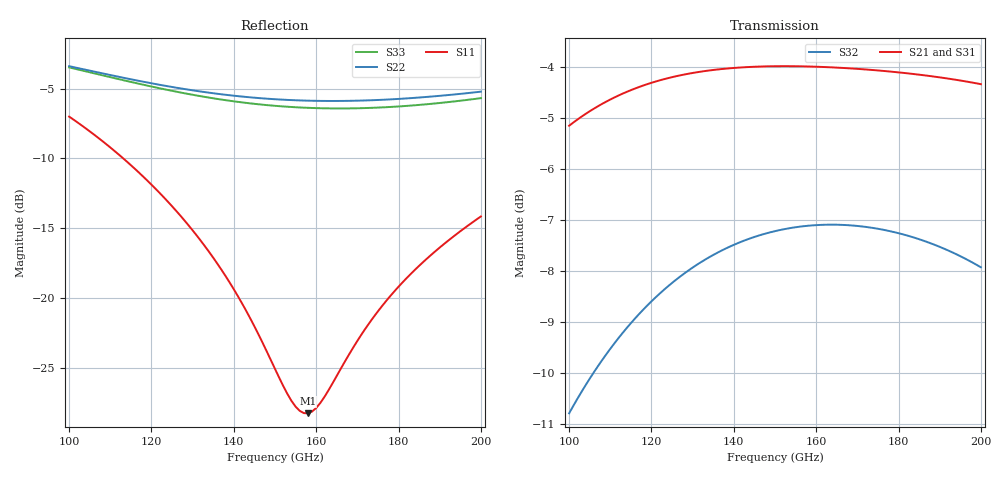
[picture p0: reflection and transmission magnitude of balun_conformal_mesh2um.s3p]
! Created with skrf 2.1.0 (http://scikit-rf.org).
# GHz S DB R 50.0
! Port[1] = P1
! Port[2] = P2
! Port[3] = P3
!freq dBS11 angS11 dBS12 angS12 dBS13 angS13
! dBS21 angS21 dBS22 angS22 dBS23 angS23
! dBS31 angS31 dBS32 angS32 dBS33 angS33
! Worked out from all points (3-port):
!   101 points, 100 GHz to 200 GHz, reference 50 ohm
!   strongest paths, dB at 100 GHz, 125 GHz, 150 GHz, 175 GHz, 200 GHz:
!     S21: -5.2, -4.2, -4.0, -4.1, -4.3
!     S31: -5.2, -4.2, -4.0, -4.1, -4.3
!     S32: -10.8, -8.2, -7.2, -7.2, -7.9
!   lowest |S11| = -28.3 dB at 158 GHz (marker M1), VSWR 1.08, Z = 53.9 - j0.845 ohm
!   |S11| at or under -10 dB: 113.1 GHz to end of sweep
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100  -7.01 137.4  -5.15 -2.5  -5.23 175.1
     -5.15 -2.5  -3.40 62.7  -10.79 95.4
     -5.23 175.1  -10.79 95.4  -3.49 54.3
114  -10.23 115.5  -4.49 -23.3  -4.54 153.3
     -4.49 -23.3  -4.28 49.4  -9.11 75.5
     -4.54 153.3  -9.11 75.5  -4.46 39.7
129  -14.80 93.1  -4.13 -44.0  -4.17 131.8
     -4.13 -44.0  -5.08 37.0  -7.99 55.4
     -4.17 131.8  -7.99 55.4  -5.39 26.1
140  -19.39 73.8  -4.02 -58.1  -4.05 117.0
     -4.02 -58.1  -5.51 28.8  -7.48 41.5
     -4.05 117.0  -7.48 41.5  -5.92 17.4
150  -25.09 43.0  -3.98 -70.3  -4.01 104.2
     -3.98 -70.3  -5.77 21.7  -7.22 29.5
     -4.01 104.2  -7.22 29.5  -6.24 9.9
155  -27.79 12.3  -3.99 -76.3  -4.01 97.9
     -3.99 -76.3  -5.84 18.2  -7.14 23.6
     -4.01 97.9  -7.14 23.6  -6.34 6.3
158  -28.27 -11.7  -3.99 -79.8  -4.01 94.2
     -3.99 -79.8  -5.87 16.1  -7.11 20.1
     -4.01 94.2  -7.11 20.1  -6.38 4.2
161  -27.53 -34.2  -4.00 -83.3  -4.02 90.6
     -4.00 -83.3  -5.89 14.0  -7.09 16.6
     -4.02 90.6  -7.09 16.6  -6.41 2.0
179  -19.53 -89.8  -4.10 -103.9  -4.10 68.9
     -4.10 -103.9  -5.76 1.1  -7.24 -3.8
     -4.10 68.9  -7.24 -3.8  -6.30 -10.9
200  -14.17 -112.5  -4.34 -127.9  -4.32 43.8
     -4.34 -127.9  -5.23 -15.0  -7.92 -27.4
     -4.32 43.8  -7.92 -27.4  -5.69 -27.1
